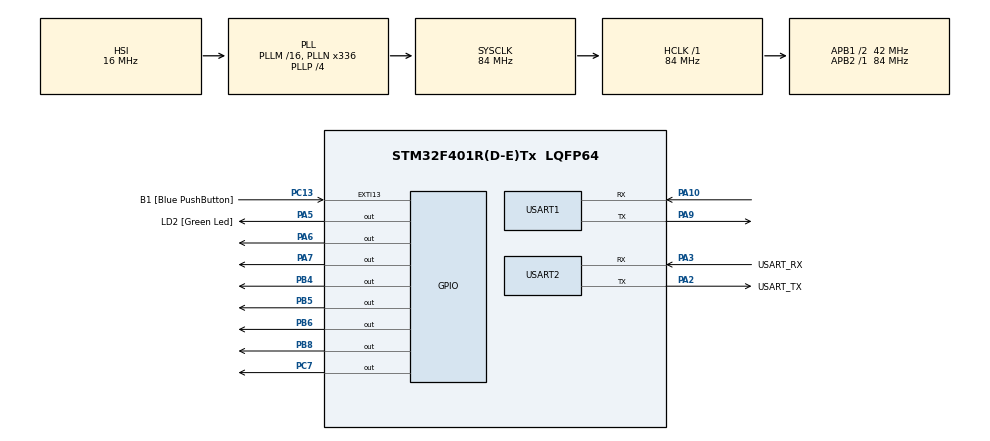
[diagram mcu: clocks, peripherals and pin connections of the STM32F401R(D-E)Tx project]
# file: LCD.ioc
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Mcu.Family=STM32F4
Mcu.Name=STM32F401R(D-E)Tx
Mcu.Package=LQFP64
NVIC.PriorityGroup=NVIC_PRIORITYGROUP_0
PA10.Mode=Asynchronous
PA10.Signal=USART1_RX
PA13.GPIO_Label=TMS
PA13.Mode=Serial_Wire
PA13.Signal=SYS_JTMS-SWDIO
PA14.GPIO_Label=TCK
PA14.Mode=Serial_Wire
PA14.Signal=SYS_JTCK-SWCLK
PA2.GPIO_Label=USART_TX
PA2.GPIO_Mode=GPIO_MODE_AF_PP
PA2.GPIO_PuPd=GPIO_NOPULL
PA2.GPIO_Speed=GPIO_SPEED_FREQ_LOW
PA2.Mode=Asynchronous
PA2.Signal=USART2_TX
PA3.GPIO_Label=USART_RX
PA3.GPIO_Mode=GPIO_MODE_AF_PP
PA3.GPIO_PuPd=GPIO_NOPULL
PA3.GPIO_Speed=GPIO_SPEED_FREQ_LOW
PA3.Mode=Asynchronous
PA3.Signal=USART2_RX
PA5.GPIO_Label=LD2 [Green Led]
PA5.GPIO_Mode=GPIO_MODE_OUTPUT_PP
PA5.GPIO_PuPd=GPIO_NOPULL
PA5.GPIO_Speed=GPIO_SPEED_FREQ_LOW
PA5.Signal=GPIO_Output
PA6.Signal=GPIO_Output
PA7.Signal=GPIO_Output
PA9.Mode=Asynchronous
PA9.Signal=USART1_TX
PB3.GPIO_Label=SWO
PB3.Signal=SYS_JTDO-SWO
PB4.Signal=GPIO_Output
PB5.Signal=GPIO_Output
PB6.Signal=GPIO_Output
PB8.PinState=GPIO_PIN_SET
PB8.Signal=GPIO_Output
PC13-ANTI_TAMP.GPIO_Label=B1 [Blue PushButton]
PC13-ANTI_TAMP.GPIO_ModeDefaultEXTI=GPIO_MODE_IT_FALLING
PC13-ANTI_TAMP.GPIO_PuPd=GPIO_NOPULL
PC13-ANTI_TAMP.Signal=GPXTI13
PC14-OSC32_IN.Mode=LSE-External-Oscillator
PC14-OSC32_IN.Signal=RCC_OSC32_IN
PC15-OSC32_OUT.Mode=LSE-External-Oscillator
PC15-OSC32_OUT.Signal=RCC_OSC32_OUT
PC7.Signal=GPIO_Output
PH0\ -\ OSC_IN.Mode=HSE-External-Clock-Source
PH0\ -\ OSC_IN.Signal=RCC_OSC_IN
PH1\ -\ OSC_OUT.Mode=HSE-External-Clock-Source
PH1\ -\ OSC_OUT.Signal=RCC_OSC_OUT
ProjectManager.HeapSize=0x200
ProjectManager.StackSize=0x400
ProjectManager.TargetToolchain=STM32CubeIDE
RCC.48MHZClocksFreq_Value=48000000
RCC.AHBFreq_Value=84000000
RCC.APB1CLKDivider=RCC_HCLK_DIV2
RCC.APB1Freq_Value=42000000
RCC.APB1TimFreq_Value=84000000
RCC.APB2Freq_Value=84000000
RCC.APB2TimFreq_Value=84000000
RCC.CortexFreq_Value=84000000
RCC.HCLKFreq_Value=84000000
RCC.HSE_VALUE=8000000
RCC.HSI_VALUE=16000000
RCC.PLLN=336
RCC.PLLP=RCC_PLLP_DIV4
RCC.PLLQ=7
RCC.SYSCLKFreq_VALUE=84000000
RCC.SYSCLKSource=RCC_SYSCLKSOURCE_PLLCLK
RCC.VCOOutputFreq_Value=336000000
USART1.VirtualMode=VM_ASYNC
USART2.VirtualMode=VM_ASYNC
board=NUCLEO-F401RE

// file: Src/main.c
/* USER CODE BEGIN Header */
/**
  ******************************************************************************
  * @file           : main.c
  * @brief          : Main program body
  ******************************************************************************
  * @attention
  *
  * Copyright (c) 2024 STMicroelectronics.
  * All rights reserved.
  *
  * This software is licensed under terms that can be found in the LICENSE file
  * in the root directory of this software component.
  * If no LICENSE file comes with this software, it is provided AS-IS.
  *
  ******************************************************************************
  */
/* USER CODE END Header */
#include "main.h"

/* USER CODE BEGIN Includes */
#include "lcd.h"
/* USER CODE END Includes */

UART_HandleTypeDef huart1;
UART_HandleTypeDef huart2;

void SystemClock_Config(void);
static void MX_GPIO_Init(void);
static void MX_USART2_UART_Init(void);
static void MX_USART1_UART_Init(void);

/* USER CODE BEGIN 0 */
uint8_t rx_buff[10];
// MM:SS
void format_time(char* char_array, int seconds) {
	int ss = seconds % 60;
	int minutes = seconds / 60;
	sprintf(char_array, "%02d:%02d", minutes, ss);
}
/* USER CODE END 0 */

int main(void)
{

  /* MCU Configuration--------------------------------------------------------*/

  /* Reset of all peripherals, Initializes the Flash interface and the Systick. */
  HAL_Init();

  /* Configure the system clock */
  SystemClock_Config();

  /* Initialize all configured peripherals */
  MX_GPIO_Init();
  MX_USART2_UART_Init();
  MX_USART1_UART_Init();
  /* USER CODE BEGIN 2 */
  // Lcd_PortType ports[] = { D4_GPIO_Port, D5_GPIO_Port, D6_GPIO_Port, D7_GPIO_Port };
  Lcd_PortType ports[] = { GPIOC, GPIOB, GPIOA, GPIOA };
  // Lcd_PinType pins[] = {D4_Pin, D5_Pin, D6_Pin, D7_Pin};
  Lcd_PinType pins[] = {GPIO_PIN_7, GPIO_PIN_6, GPIO_PIN_7, GPIO_PIN_6};
  Lcd_HandleTypeDef lcd;
  // Lcd_create(ports, pins, RS_GPIO_Port, RS_Pin, EN_GPIO_Port, EN_Pin, LCD_4_BIT_MODE);
  lcd = Lcd_create(ports, pins, GPIOB, GPIO_PIN_5, GPIOB, GPIO_PIN_4, LCD_4_BIT_MODE);
  const int study_seconds = 25*60;
  const int break_seconds = 5*60;
  int ct = study_seconds;
  int is_study = 1;  // 1 is study, 0 is break
  int prev_flag = -1;
  int cur_flag = -1;
  int is_paused = 1;
  /* USER CODE END 2 */

  /* Infinite loop */
  while (1)
  {

    /* USER CODE BEGIN 3 */
	        if(HAL_UART_Receive(&huart1, rx_buff, 10, 500)==HAL_OK) //if transfer is successful
	        {
	        	// 0 = pause
	        	// 1 = start
        		prev_flag = cur_flag;

	        	cur_flag = rx_buff[0];
	        	if (cur_flag != prev_flag && cur_flag == 1 && prev_flag != -1) {
	        		is_paused = 0;
	        		//prev_flag = 1;
	        	}
	        	else if(cur_flag != prev_flag && cur_flag == 0 && prev_flag != -1){
	        		// pause the guy
	        		is_paused = 1;

	        	}

	          __NOP(); //You need to toggle a breakpoint on this line!
	        } else {
	          __NOP();
	        }
	      if (is_paused == 1) {

	    	  continue;

	      }
	  	  // ROW 1 -----------------------------------
	  	  Lcd_cursor(&lcd, 0,0);
	  	  if (is_study == 1) {
	  		  Lcd_string(&lcd, "Study Time:");
	  	  } else {
	  		  Lcd_string(&lcd, "Break Time:");
	  	  }

	  	  // Row 2 -----------------------------------
	  	  Lcd_cursor(&lcd, 1,0);
	  	  char char_array[5];
	  	  format_time(char_array, ct);
	  	  Lcd_string(&lcd, char_array);
	  	  if (ct == 0) {  // Switch
	  		  HAL_Delay(2000);
	  		  // Buzzer should ring now
	  		  // send output voltage to first board
	  		  if (is_study == 1) {  // switch to break
	  			  ct = break_seconds + 1;
	  			  is_study = 0;
	  		  } else {  // switch to study
	  			  ct = study_seconds + 1;
	  			  is_study = 1;
	  		  }
	  	  }
	  	  ct--;

	        HAL_Delay (500);
  }
  /* USER CODE END 3 */
}

void SystemClock_Config(void)
{
  RCC_OscInitTypeDef RCC_OscInitStruct = {0};
  RCC_ClkInitTypeDef RCC_ClkInitStruct = {0};

  /** Configure the main internal regulator output voltage
  */
  __HAL_RCC_PWR_CLK_ENABLE();
  __HAL_PWR_VOLTAGESCALING_CONFIG(PWR_REGULATOR_VOLTAGE_SCALE2);

  /** Initializes the RCC Oscillators according to the specified parameters
  * in the RCC_OscInitTypeDef structure.
  */
  RCC_OscInitStruct.OscillatorType = RCC_OSCILLATORTYPE_HSI;
  RCC_OscInitStruct.HSIState = RCC_HSI_ON;
  RCC_OscInitStruct.HSICalibrationValue = RCC_HSICALIBRATION_DEFAULT;
  RCC_OscInitStruct.PLL.PLLState = RCC_PLL_ON;
  RCC_OscInitStruct.PLL.PLLSource = RCC_PLLSOURCE_HSI;
  RCC_OscInitStruct.PLL.PLLM = 16;
  RCC_OscInitStruct.PLL.PLLN = 336;
  RCC_OscInitStruct.PLL.PLLP = RCC_PLLP_DIV4;
  RCC_OscInitStruct.PLL.PLLQ = 7;
  if (HAL_RCC_OscConfig(&RCC_OscInitStruct) != HAL_OK)
  {
    Error_Handler();
  }

  /** Initializes the CPU, AHB and APB buses clocks
  */
  RCC_ClkInitStruct.ClockType = RCC_CLOCKTYPE_HCLK|RCC_CLOCKTYPE_SYSCLK
                              |RCC_CLOCKTYPE_PCLK1|RCC_CLOCKTYPE_PCLK2;
  RCC_ClkInitStruct.SYSCLKSource = RCC_SYSCLKSOURCE_PLLCLK;
  RCC_ClkInitStruct.AHBCLKDivider = RCC_SYSCLK_DIV1;
  RCC_ClkInitStruct.APB1CLKDivider = RCC_HCLK_DIV2;
  RCC_ClkInitStruct.APB2CLKDivider = RCC_HCLK_DIV1;

  if (HAL_RCC_ClockConfig(&RCC_ClkInitStruct, FLASH_LATENCY_2) != HAL_OK)
  {
    Error_Handler();
  }
}

static void MX_USART1_UART_Init(void)
{

  huart1.Instance = USART1;
  huart1.Init.BaudRate = 115200;
  huart1.Init.WordLength = UART_WORDLENGTH_8B;
  huart1.Init.StopBits = UART_STOPBITS_1;
  huart1.Init.Parity = UART_PARITY_NONE;
  huart1.Init.Mode = UART_MODE_TX_RX;
  huart1.Init.HwFlowCtl = UART_HWCONTROL_NONE;
  huart1.Init.OverSampling = UART_OVERSAMPLING_16;
  if (HAL_UART_Init(&huart1) != HAL_OK)
  {
    Error_Handler();
  }

}

static void MX_USART2_UART_Init(void)
{

  huart2.Instance = USART2;
  huart2.Init.BaudRate = 115200;
  huart2.Init.WordLength = UART_WORDLENGTH_8B;
  huart2.Init.StopBits = UART_STOPBITS_1;
  huart2.Init.Parity = UART_PARITY_NONE;
  huart2.Init.Mode = UART_MODE_TX_RX;
  huart2.Init.HwFlowCtl = UART_HWCONTROL_NONE;
  huart2.Init.OverSampling = UART_OVERSAMPLING_16;
  if (HAL_UART_Init(&huart2) != HAL_OK)
  {
    Error_Handler();
  }

}

static void MX_GPIO_Init(void)
{
  GPIO_InitTypeDef GPIO_InitStruct = {0};

  /* GPIO Ports Clock Enable */
  __HAL_RCC_GPIOC_CLK_ENABLE();
  __HAL_RCC_GPIOH_CLK_ENABLE();
  __HAL_RCC_GPIOA_CLK_ENABLE();
  __HAL_RCC_GPIOB_CLK_ENABLE();

  /*Configure GPIO pin Output Level */
  HAL_GPIO_WritePin(GPIOA, LD2_Pin|GPIO_PIN_6|GPIO_PIN_7, GPIO_PIN_RESET);

  /*Configure GPIO pin Output Level */
  HAL_GPIO_WritePin(GPIOC, GPIO_PIN_7, GPIO_PIN_RESET);

  /*Configure GPIO pin Output Level */
  HAL_GPIO_WritePin(GPIOB, GPIO_PIN_4|GPIO_PIN_5|GPIO_PIN_6, GPIO_PIN_RESET);

  /*Configure GPIO pin Output Level */
  HAL_GPIO_WritePin(GPIOB, GPIO_PIN_8, GPIO_PIN_SET);

  /*Configure GPIO pin : B1_Pin */
  GPIO_InitStruct.Pin = B1_Pin;
  GPIO_InitStruct.Mode = GPIO_MODE_IT_FALLING;
  GPIO_InitStruct.Pull = GPIO_NOPULL;
  HAL_GPIO_Init(B1_GPIO_Port, &GPIO_InitStruct);

  /*Configure GPIO pins : LD2_Pin PA6 PA7 */
  GPIO_InitStruct.Pin = LD2_Pin|GPIO_PIN_6|GPIO_PIN_7;
  GPIO_InitStruct.Mode = GPIO_MODE_OUTPUT_PP;
  GPIO_InitStruct.Pull = GPIO_NOPULL;
  GPIO_InitStruct.Speed = GPIO_SPEED_FREQ_LOW;
  HAL_GPIO_Init(GPIOA, &GPIO_InitStruct);

  /*Configure GPIO pin : PC7 */
  GPIO_InitStruct.Pin = GPIO_PIN_7;
  GPIO_InitStruct.Mode = GPIO_MODE_OUTPUT_PP;
  GPIO_InitStruct.Pull = GPIO_NOPULL;
  GPIO_InitStruct.Speed = GPIO_SPEED_FREQ_LOW;
  HAL_GPIO_Init(GPIOC, &GPIO_InitStruct);

  /*Configure GPIO pins : PB4 PB5 PB6 PB8 */
  GPIO_InitStruct.Pin = GPIO_PIN_4|GPIO_PIN_5|GPIO_PIN_6|GPIO_PIN_8;
  GPIO_InitStruct.Mode = GPIO_MODE_OUTPUT_PP;
  GPIO_InitStruct.Pull = GPIO_NOPULL;
  GPIO_InitStruct.Speed = GPIO_SPEED_FREQ_LOW;
  HAL_GPIO_Init(GPIOB, &GPIO_InitStruct);

}

void Error_Handler(void)
{
  __disable_irq();
  while (1)
  {
  }
}
